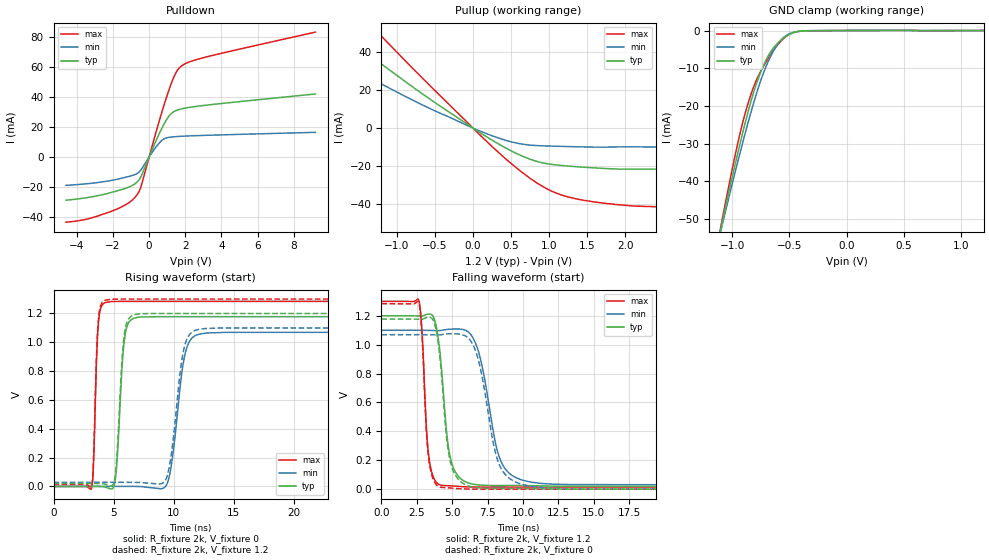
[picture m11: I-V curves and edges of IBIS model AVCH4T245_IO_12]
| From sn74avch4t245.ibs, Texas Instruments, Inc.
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[Model]   AVCH4T245_IO_12
Model_type  I/O
Vinl=0.385
Vinh=0.845
Enable   Active-Low
Vref =   0
Rref =   2000
Cref =   15p
Vmeas =   0.6
| variable   typ   min   max
C_comp   5.43pF   4.74pF   5.96pF
| C_pullup   5.92pF   3.98pF   7.96pF
| C_pulldown   5.47pF   4.86pF   7.14pF
| C_tri-state   5.43pF   4.74pF   5.96pF
[Temperature Range]   40   100   -40
| Ambient temperature   25   85   -40
[Voltage range]   1.2   1.1   1.3
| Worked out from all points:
|   slope of the pulldown table from 0 to 0.18 V, typ, clamps not added: 34.6 ohm
|   slope of the pullup table from 0 to 0.18 V, typ, clamps not added: 38.6 ohm
|   GND clamp passes 1 mA (typ) near -0.50 V on its own axis
|   rising waveform, R_fixture 2k, V_fixture 0: 20-80 % time 476ps typ, 877ps min, 286ps max; typ from 0 V to 1.18 V
|   falling waveform, R_fixture 2k, V_fixture 1.2: 20-80 % time 676ps typ, 1.23ns min, 403ps max; typ from 1.2 V to 0.02 V
|   rising waveform, R_fixture 2k, V_fixture 1.2: 20-80 % time 470ps typ, 859ps min, 284ps max; typ from 0.02 V to 1.2 V
|   falling waveform, R_fixture 2k, V_fixture 0: 20-80 % time 674ps typ, 1.22ns min, 401ps max; typ from 1.18 V to 0 V
[GND Clamp]
| AVCH4T245_IO_12
|   Voltage   I(typ)   I(min)   I(max)
-4.6V     -602.3mA   -550.9mA   -667.2mA
-1.095V   -51.9mA    -52.47mA   -51.21mA
-1.07V    -48.43mA   -49.33mA   -47.31mA
-940mV    -31.07mA   -33.44mA   -28.34mA
-840mV    -19.2mA    -22.09mA   -17.29mA
-775mV    -12.99mA   -15.5mA    -12.24mA
-695mV    -7.298mA   -8.88mA    -7.866mA
-615mV    -3.734mA   -4.191mA   -4.305mA
-545mV    -1.871mA   -1.698mA   -1.969mA
-465mV    -604.4uA   -487.4uA   -527.9uA
-355mV    -86uA      -70.99uA   -92.21uA
1.2V      719.6pA    1.474uA    -44.11nA
[Pulldown]
| AVCH4T245_IO_12
|   Voltage   I(typ)   I(min)   I(max)
-4.6V     -28.79mA   -18.92mA   -43.46mA
-3.41V    -27.05mA   -17.8mA    -41.31mA
-2.035V   -23.45mA   -15.53mA   -35.96mA
-1.17V    -20.3mA    -13.14mA   -30.86mA
-680mV    -16.87mA   -11.13mA   -25.38mA
-435mV    -12.68mA   -8.327mA   -19.06mA
440mV     12.38mA    7.543mA    19.04mA
955mV     24.67mA    12.69mA    39.57mA
1.42V     30.53mA    13.49mA    54.64mA
1.79V     32.04mA    13.78mA    60.61mA
3.17V     34.51mA    14.41mA    66.63mA
9.2V      41.96mA    16.4mA     83.17mA
[Pullup]
| AVCH4T245_IO_12
|   Voltage   I(typ)   I(min)   I(max)
-4.6V     40.24mA    7.956mA    186.3mA
-4.08V    45.4mA     8.808mA    167.8mA
-3.73V    53.63mA    9.647mA    154.2mA
-2.685V   79.31mA    16.98mA    111.4mA
-2.57V    75.87mA    21.96mA    106.5mA
-2.565V   75.72mA    49.43mA    106.3mA
-1.845V   53.66mA    37.03mA    75.82mA
-1.36V    38.76mA    26.71mA    55.3mA
575mV     -13.51mA   -7.977mA   -21.19mA
1.01V     -19.08mA   -9.527mA   -32.92mA
1.455V    -20.71mA   -9.971mA   -38.21mA
9.2V      -28.28mA   -12.48mA   -52.65mA
[Ramp]
| AVCH4T245_IO_12
| variable   typ   min   max
dV/dt_r   0.72/4.88E-10   0.65/8.95E-10   0.78/2.91E-10
dV/dt_f   0.72/6.88E-10   0.65/1.23E-09   0.78/4.16E-10
R_load = 2k
[Rising Waveform]
| AVCH4T245_IO_12
R_fixture =   2k
C_fixture =   0
L_fixture =   0
V_fixture =   0
V_fixture_min = 0
V_fixture_max = 0
|   Time   V(typ)   V(min)   V(max)
0s        18.14nV    102.1nV    431.7pV
3.16ns    598.4uV    -123.4uV   -16.21mV
3.72ns    436.4uV    148.6uV    1.113V
4.31ns    -4.363mV   163uV      1.276V
5.125ns   35.91mV    465.5uV    1.284V
5.885ns   1.004V     358.4uV    1.284V
6.695ns   1.167V     200uV      1.284V
9.475ns   1.178V     21.2mV     1.284V
11.92ns   1.178V     1.051V     1.284V
40ns      1.178V     1.069V     1.284V
[Falling Waveform]
| AVCH4T245_IO_12
R_fixture =   2k
C_fixture =   0
L_fixture =   0
V_fixture =   1.2
V_fixture_min = 1.1
V_fixture_max = 1.3
|   Time   V(typ)   V(min)   V(max)
0s        1.2V       1.1V       1.3V
2.65ns    1.198V     1.1V       1.304V
3.32ns    1.212V     1.099V     248.6mV
4.135ns   947.3mV    1.098V     29.69mV
4.7ns     314.2mV    1.106V     24.14mV
5.275ns   109.7mV    1.109V     20.38mV
6.78ns    30.29mV    976.5mV    14.83mV
8.445ns   24.95mV    193mV      14.47mV
9.98ns    25.59mV    61.89mV    14.45mV
40ns      20.07mV    28.67mV    14.44mV
[Rising Waveform]
| AVCH4T245_IO_12
R_fixture =   2k
C_fixture =   0
L_fixture =   0
V_fixture =   1.2
V_fixture_min = 1.1
V_fixture_max = 1.3
|   Time   V(typ)   V(min)   V(max)
0s        20.07mV    28.66mV    14.44mV
3.155ns   20.64mV    28.59mV    -1.891mV
3.71ns    20.39mV    28.86mV    1.127V
4.3ns     15.88mV    28.84mV    1.292V
5.1ns     54.45mV    29.04mV    1.3V
5.86ns    1.027V     28.8mV     1.3V
6.66ns    1.189V     28.55mV    1.3V
9.405ns   1.2V       56.98mV    1.3V
11.81ns   1.2V       1.083V     1.3V
40ns      1.2V       1.1V       1.3V
[Falling Waveform]
| AVCH4T245_IO_12
R_fixture =   2k
C_fixture =   0
L_fixture =   0
V_fixture =   0
V_fixture_min = 0
V_fixture_max = 0
|   Time   V(typ)   V(min)   V(max)
0s        1.178V     1.069V     1.284V
2.65ns    1.177V     1.069V     1.287V
3.315ns   1.189V     1.069V     233.6mV
4.115ns   929.3mV    1.068V     15.33mV
4.675ns   298.5mV    1.076V     9.593mV
5.24ns    93.82mV    1.075V     5.543mV
6.705ns   11.13mV    942.6mV    372.7uV
8.345ns   4.991mV    166.5mV    26.57uV
9.92ns    5.374mV    33.34mV    7.41uV
40ns      369.9nV    4.533uV    190.8nV
